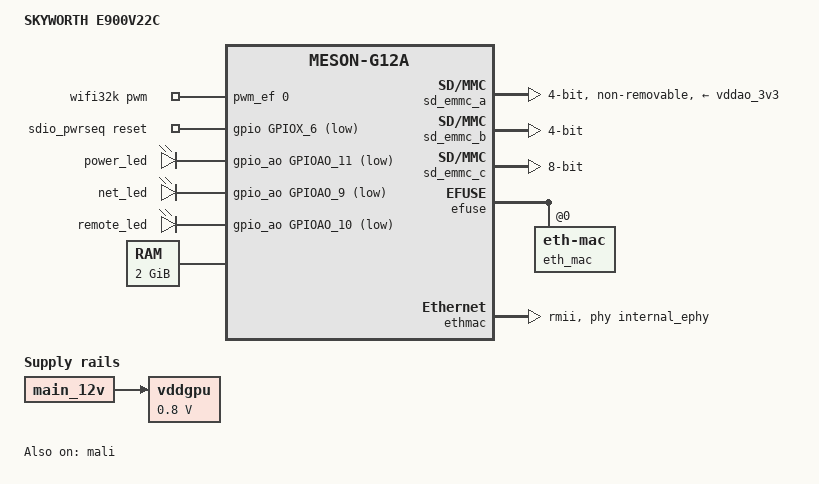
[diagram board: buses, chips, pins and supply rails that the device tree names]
// SPDX-License-Identifier: (GPL-2.0+ OR MIT)
/*
 * Copyright (c) 2018 Amlogic, Inc. All rights reserved.
 * Create by flippy
 */

/dts-v1/;

#include "meson-g12a-u200.dts"

/ {
	compatible = "skyworth,e900v22c", "amlogic,g12a";
	model = "SKYWORTH E900V22C";

	vddgpu: regulator-vddgpu {
		compatible = "regulator-fixed";
		regulator-name = "mali";
		regulator-min-microvolt = <800000>;
		regulator-max-microvolt = <800000>;
		vin-supply = <&main_12v>;
		regulator-boot-on;
		regulator-always-on;
	};

	wifi32k: wifi32k {
		compatible = "pwm-clock";
		#clock-cells = <0>;
		clock-frequency = <32768>;
		pwms = <&pwm_ef 0 30518 0>; /* PWM_E at 32.768KHz */
	};

	sdio_pwrseq: sdio-pwrseq {
		compatible = "mmc-pwrseq-simple";
		reset-gpios = <&gpio GPIOX_6 GPIO_ACTIVE_LOW>;
		clocks = <&wifi32k>;
		clock-names = "ext_clock";
	};

	leds {
		compatible = "gpio-leds";
		
		power_led {
			led_name = "power_led";
                        gpios = <&gpio_ao GPIOAO_11 GPIO_ACTIVE_LOW>;
			default-state = "on";
		};

		net_led {
			led_name = "net_led";
                        gpios = <&gpio_ao GPIOAO_9 GPIO_ACTIVE_LOW>;
			default-state = "off";
			linux,default-trigger = "0.0:00:link";
		};

		remote_led {
			led_name = "remote_led";
                        gpios = <&gpio_ao GPIOAO_10 GPIO_ACTIVE_LOW>;
			default-state = "off";
			linux,default-trigger = "rc-feedback";
		};

	};

	memory@0 {
		device_type = "memory";
		reg = <0x0 0x0 0x0 0x80000000>;
	};
};

&mali {
	status = "okay";
	mali-supply = <&vddgpu>;
};

/* SDIO */
&sd_emmc_a {
	status = "okay";
	pinctrl-0 = <&sdio_pins>;
	pinctrl-1 = <&sdio_clk_gate_pins>;
	pinctrl-names = "default", "clk-gate";
	#address-cells = <1>;
	#size-cells = <0>;

	bus-width = <4>;
	cap-sd-highspeed;
	sd-uhs-sdr50;
	max-frequency = <100000000>;

	non-removable;
	disable-wp;

	/* WiFi firmware requires power to be kept while in suspend */
	keep-power-in-suspend;

	mmc-pwrseq = <&sdio_pwrseq>;

	vmmc-supply = <&vddao_3v3>;
	vqmmc-supply = <&vddao_1v8>;

	//wifi: wifi@1 {
	//	reg = <1>;
	//	compatible = "unisoc,uwe5622";
	//};
};

/* SD card */
&sd_emmc_b {
	status = "okay";
	bus-width = <4>;
	cap-sd-highspeed;
	max-frequency = <50000000>;
};

/* eMMC */
&sd_emmc_c {
	status = "okay";
	bus-width = <8>;
	cap-mmc-highspeed;
	mmc-ddr-1_8v;
	mmc-hs200-1_8v;
	max-frequency = <200000000>;
};

/* CPU Overclock */
&cpu_opp_table {
	opp-100000000 {
		status = "disabled";
	};

	opp-250000000 {
		status = "disabled";
	};

	opp-500000000 {
		status = "disabled";
	};

	opp-667000000 {
		status = "disabled";
	};

	opp-1908000000 {
		opp-hz = /bits/ 64 <1908000000>;
		opp-microvolt = <1001000>;
	};

	/* 2016mhz :  not test */
	//opp-2016000000 {
	//		opp-hz = /bits/ 64 <2016000000>;
	//		opp-microvolt = <1021000>;
	//};
};

&efuse {
	eth_mac: eth-mac@0 {
		reg = <0x0 0x6>;
	};
};

&ethmac {
	/delete-property/ resets;
	/delete-property/ reset-names;
	phy-handle = <&internal_ephy>;
	phy-mode = "rmii";
	nvmem-cells = <&eth_mac>;
	nvmem-cell-names = "mac-address";
	status = "okay";
};
